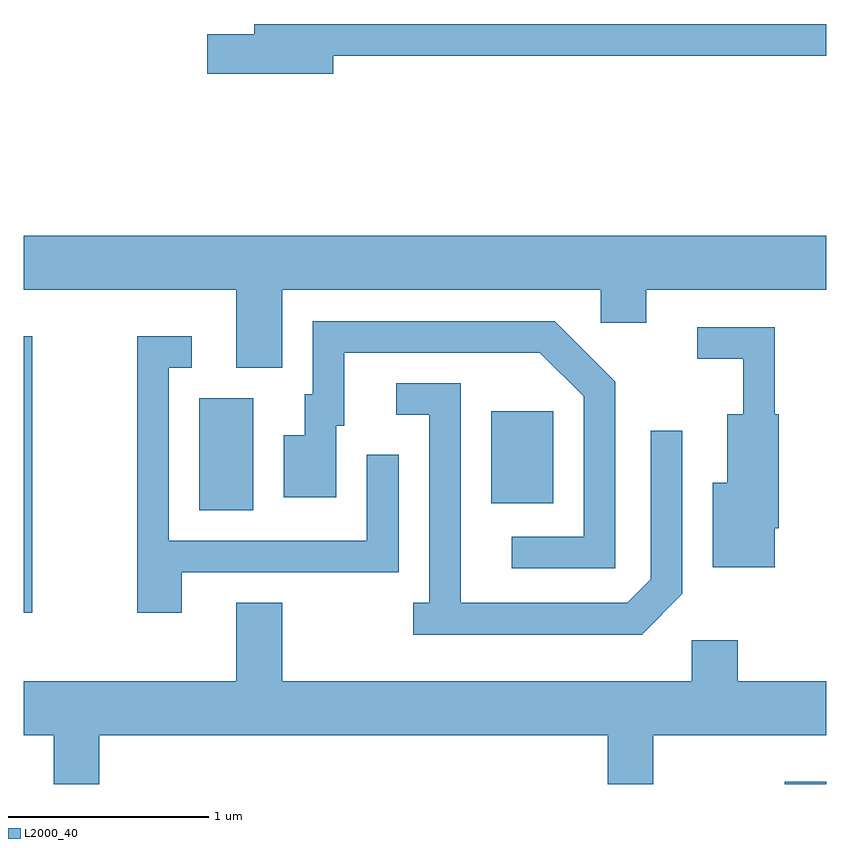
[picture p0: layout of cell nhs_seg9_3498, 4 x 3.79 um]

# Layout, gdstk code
import gdstk
lib = gdstk.Library(unit=1e-6, precision=1e-09)
def R(c, l, rs):  # rectangles x0, y0, x1, y1
    for r in rs: c.add(gdstk.rectangle(r[:2], r[2:], *l))
def P(c, l, *ps):  # polygons
    for p in ps: c.add(gdstk.Polygon(p, *l))
L2000_40 = (2000, 40)

nhs_seg9_3498 = lib.new_cell('nhs_seg9_3498')
R(nhs_seg9_3498, L2000_40, [(291.403,2020.432,291.611,2020.444), (287.611,2021.286,287.654,2022.664), (288.486,2021.796,288.754,2022.354), (289.941,2021.831,290.249,2022.289)])
P(nhs_seg9_3498, L2000_40, [(289.154,2024.061),(291.611,2024.061),(291.611,2024.219),(288.761,2024.219),(288.761,2024.169),(288.526,2024.169),(288.526,2023.971),(289.154,2023.971)],
  [(288.899,2022.896),(290.486,2022.896),(290.486,2022.731),(290.714,2022.731),(290.714,2022.896),(291.611,2022.896),(291.611,2023.164),(287.611,2023.164),(287.611,2022.896),(288.671,2022.896),(288.671,2022.506),(288.899,2022.506)],
  [(290.559,2022.437),(290.257,2022.739),(289.051,2022.739),(289.051,2022.374),(289.011,2022.374),(289.011,2022.169),(288.906,2022.169),(288.906,2021.861),(289.169,2021.861),(289.169,2022.216),(289.209,2022.216),(289.209,2022.581),(290.184,2022.581),(290.401,2022.364),(290.401,2021.664),(290.043,2021.664),(290.043,2021.506),(290.559,2021.506)],
  [(291.354,2021.706),(291.374,2021.706),(291.374,2022.274),(291.354,2022.274),(291.354,2022.709),(290.968,2022.709),(290.968,2022.551),(291.196,2022.551),(291.196,2022.274),(291.116,2022.274),(291.116,2021.934),(291.046,2021.934),(291.046,2021.511),(291.354,2021.511)],
  [(288.399,2021.486),(289.479,2021.486),(289.479,2022.073),(289.321,2022.073),(289.321,2021.644),(288.334,2021.644),(288.334,2022.506),(288.448,2022.506),(288.448,2022.664),(288.176,2022.664),(288.176,2021.286),(288.399,2021.286)],
  [(290.894,2021.379),(290.894,2022.193),(290.736,2022.193),(290.736,2021.452),(290.619,2021.334),(289.789,2021.334),(289.789,2022.429),(289.468,2022.429),(289.468,2022.271),(289.631,2022.271),(289.631,2021.334),(289.553,2021.334),(289.553,2021.176),(290.692,2021.176)],
  [(287.989,2020.676),(290.521,2020.676),(290.521,2020.432),(290.749,2020.432),(290.749,2020.676),(291.611,2020.676),(291.611,2020.944),(291.169,2020.944),(291.169,2021.149),(290.941,2021.149),(290.941,2020.944),(288.899,2020.944),(288.899,2021.334),(288.671,2021.334),(288.671,2020.944),(287.611,2020.944),(287.611,2020.676),(287.761,2020.676),(287.761,2020.432),(287.989,2020.432)])

lib.write_gds('nhs_seg9_3498.gds')
